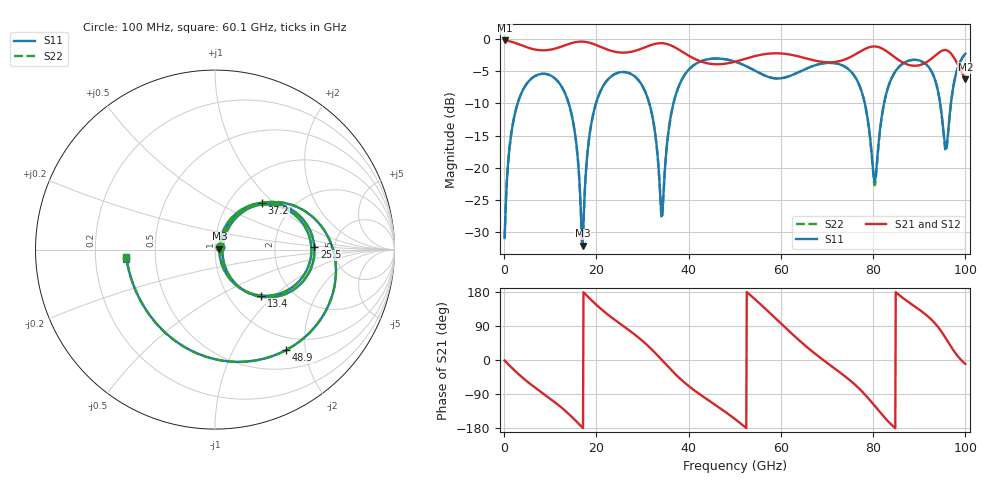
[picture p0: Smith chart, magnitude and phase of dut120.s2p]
! Touchstone file exported from HFSS 2026.1.0
!  File:  C:/ffzhzh/LocalFiles/Ansys_Project_Files/temp_train_TSV_RDL_120_1783637076_29156.aedt
!  Generated:  06:52:31 AM Jul 10, 2026
!  Design:  TSV_RDL
!  Project:  temp_train_TSV_RDL_120_1783637076_29156
! Variables:
!  h_bsmrdl = 2.01um
!  h_ox = 20um
!  h_rdl = 5um
!  h_sub = 73.99um
!  h_tmrdl = 4.97um
!  h_tsv = 73.99um
!  h_via = 3um
!  l_bsmrdl = 633.21um
!  l_sub = 3380.23um
!  l_tmrdl = 244.8um
!  m_sub = 200um
!  pitch = 47.54um
!  r_tsv = 13.07um
!  s_tmrdl = 10um
!  w_bsmrdl = 15.88um
!  w_sub = 500um
!  w_tmrdl = 17.92um
!  x_tsv_center1 = 253.76um
!  x_tsv_center2 = 902.85um
!  x_tsv_center3 = 1165.57um
!  x_tsv_center4 = 1814.66um
!  x_tsv_center5 = 2077.38um
!  x_tsv_center6 = 2726.47um
# GHz S MA R 50.000000
! Terminal data exported
! Port[1] = TM_RDL1_1_T1
! Port[2] = TM_RDL5_1_T1
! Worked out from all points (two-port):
!   1000 points, 100 MHz to 100 GHz, reference 50 ohm
!   highest |S21| = -0.22 dB at 100 MHz (marker M1); lowest = -6.3 dB at 100 GHz (marker M2)
!   |S21| within 3 dB of the highest: start of sweep to 41.73 GHz; 51.56 GHz to 66.63 GHz (15.07 GHz wide, 25.5 % of centre) (the widest 2 of 4)
!   lowest |S11| = -32.1 dB at 17 GHz (marker M3), VSWR 1.05, Z = 52.5 + j0.478 ohm
!   |S11| at or under -10 dB: 13.99 GHz to 19.91 GHz (5.918 GHz wide, 34.9 % of centre); 31.47 GHz to 36.71 GHz (5.233 GHz wide, 15.4 % of centre); 78.19 GHz to 82.36 GHz (4.169 GHz wide, 5.19 % of centre) (the widest 3 of 5)
!   |S22| runs from -32.2 to -2.3 dB; largest |S21 - S12| = 7.8e-13
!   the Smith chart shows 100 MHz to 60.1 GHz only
!   S11 on the Smith chart (normalised r, x): 100 MHz: 1.05, +0.03; 13.4 GHz: 1.41, -0.83; 25.5 GHz: 3.48, +0.13; 37.2 GHz: 1.42, +0.84; 48.9 GHz: 0.78, -1.64; 60.1 GHz: 0.34, -0.04
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0.1  0.02844 25.9  0.9746 -1.3  0.9746 -1.3  0.02844 25.9
! Gamma 0 0 0 0
! Port Impedance 50 0 50 0
4  0.3972 39.0  0.887 -46.7  0.887 -46.7  0.3972 39.0
13.4  0.3639 -44.8  0.8984 -135.8  0.8984 -135.8  0.3638 -44.8
16.8  0.0308 -35.7  0.9551 -176.1  0.9551 -176.1  0.03056 -35.9
17  0.02479 10.6  0.9547 -178.6  0.9547 -178.6  0.02456 10.8
19.7  0.2975 53.3  0.9048 148.9  0.9048 148.9  0.2976 53.3
25.5  0.5538 1.3  0.784 92.5  0.784 92.5  0.5538 1.2
33.4  0.1092 -59.1  0.9259 10.3  0.9259 10.3  0.1084 -60.0
34.3  0.04477 16.4  0.9278 -1.5  0.9278 -1.5  0.04302 17.4
37.2  0.3678 44.5  0.8544 -38.4  0.8544 -38.4  0.3677 44.8
42.8  0.6746 -5.8  0.6664 -93.8  0.6664 -93.8  0.6747 -5.8
48.9  0.6853 -55.0  0.652 -145.3  0.652 -145.3  0.6854 -55.1
50.1  0.6663 -65.6  0.6672 -156.3  0.6672 -156.3  0.6664 -65.8
55.1  0.5494 -115.9  0.7471 152.5  0.7471 152.5  0.5493 -116.4
60.1  0.4958 -174.2  0.7719 95.3  0.7719 95.3  0.4959 -175.2
66.7  0.6126 112.9  0.6891 23.5  0.6891 23.5  0.613 112.0
78.2  0.3155 11.1  0.8357 -90.8  0.8357 -90.8  0.3148 9.7
80.4  0.07947 64.8  0.8754 -122.0  0.8754 -122.0  0.07366 64.7
83.4  0.4382 97.3  0.7812 -163.8  0.7812 -163.8  0.4371 97.6
94.4  0.3398 10.9  0.7907 81.9  0.7907 81.9  0.3376 10.0
95.8  0.1409 56.8  0.8193 56.4  0.8193 56.4  0.1343 56.9
100  0.7687 71.2  0.485 -10.5  0.485 -10.5  0.7682 71.5
